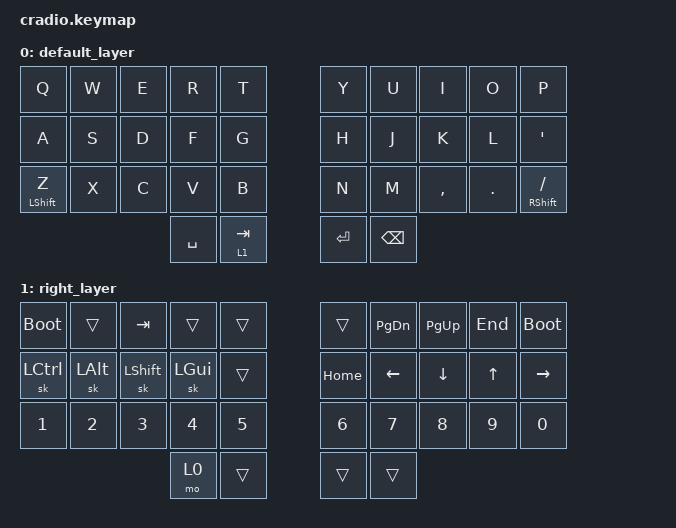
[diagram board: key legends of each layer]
// Copyright (c) 2022 The ZMK Contributors
// SPDX-License-Identifier: MIT

#include <behaviors.dtsi>
#include <dt-bindings/zmk/keys.h>

&gresc {
    bindings = <&kp A>, <&kp TAB>;

    mods = <(MOD_LGUI)>;
};

&sk {
    release-after-ms = <900>;
    quick-release;
    ignore-modifiers;
};

/ {
    behaviors {
        mt_space: mt_space {
            compatible = "zmk,behavior-hold-tap";
            label = "MT_SPACE";
            bindings = <&kp>, <&kp>;

            #binding-cells = <2>;
            tapping-term-ms = <200>;
            quick-tap-ms = <175>;
            require-prior-idle-ms = <150>;
            flavor = "balanced";
        };
    };

    combos {
        compatible = "zmk,combos";

        // --- APP SWITCHING (MANUAL) ---
        // 1. The Anchor: Hold Command (Left Ring + Index)

        combo_gui_hold {
            bindings = <&kp LGUI>;
            key-positions = <11 13>;
            layers = <0>;
        };

        // 2. The Cycler: Tap Tab (Right Index + Ring)

        combo_tab_plain {
            bindings = <&kp TAB>;
            key-positions = <16 18>;
        };

        // --- APP SWITCHING (INSTANT) ---

        combo_app_switch {
            bindings = <&kp LG(TAB)>;
            key-positions = <10 11>; // A + S
            require-prior-idle-ms = <150>;
        };

        // --- EDITING ---
        // Command + Backspace (Delete Line)

        combo_del_line {
            bindings = <&kp LG(BACKSPACE)>;
            key-positions = <13 33>; // F + Backspace
        };

        // --- TAB MANAGEMENT ---

        combo_new_tab {
            bindings = <&kp LG(T)>;
            key-positions = <13 4>; // F + T
        };

        combo_close_tab {
            bindings = <&kp LG(W)>;
            key-positions = <13 1>; // F + W
        };

        // --- TAB NAVIGATION ---

        combo_prev_tab {
            bindings = <&kp LC(LS(TAB))>;
            key-positions = <12 13>; // D + F
        };

        combo_next_tab {
            bindings = <&kp LC(TAB)>;
            key-positions = <16 17>; // J + K
        };

        // --- UTILITY ---

        combo_screenshot {
            bindings = <&kp LG(LS(N4))>;
            key-positions = <0 1>; // Q + W
            require-prior-idle-ms = <150>;
        };

        escape {
            bindings = <&kp ESC>;
            key-positions = <13 16>;
        }; // F + J
    };

    keymap {
        compatible = "zmk,keymap";

        default_layer {
            bindings = <
&kp Q             &kp W  &kp E  &kp R      &kp T        &kp Y    &kp U          &kp I      &kp O    &kp P
&kp A             &kp S  &kp D  &kp F      &kp G        &kp H    &kp J          &kp K      &kp L    &kp APOS
&mt LEFT_SHIFT Z  &kp X  &kp C  &kp V      &kp B        &kp N    &kp M          &kp COMMA  &kp DOT  &mt RIGHT_SHIFT FSLH
                                &kp SPACE  &lt 1 TAB    &kp RET  &kp BACKSPACE
            >;
        };

        right_layer {
            bindings = <
&bootloader  &trans    &kp TAB     &trans    &trans    &trans    &kp PG_DN  &kp PG_UP  &kp END  &bootloader
&sk LCTRL    &sk LALT  &sk LSHIFT  &sk LGUI  &trans    &kp HOME  &kp LEFT   &kp DOWN   &kp UP   &kp RIGHT
&kp N1       &kp N2    &kp N3      &kp N4    &kp N5    &kp N6    &kp N7     &kp N8     &kp N9   &kp N0
                                   &mo 0     &trans    &trans    &trans
            >;
        };
    };
};
